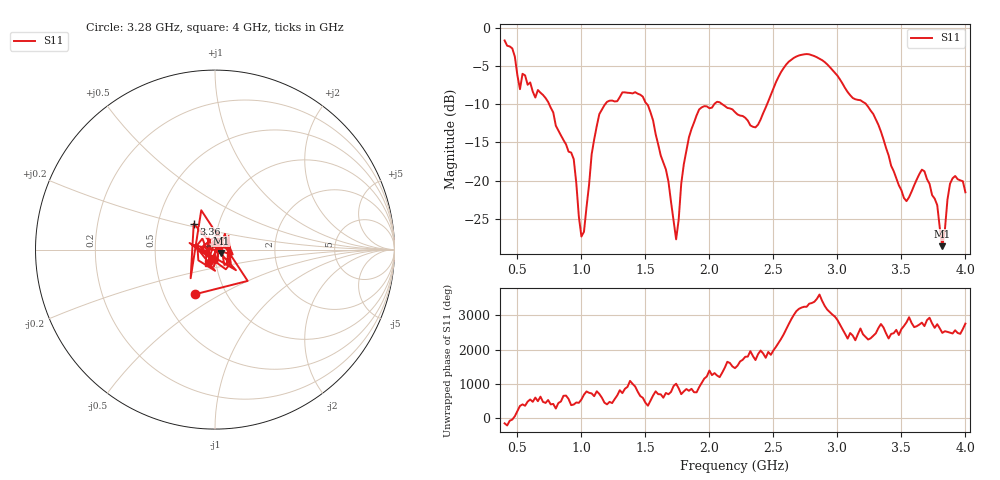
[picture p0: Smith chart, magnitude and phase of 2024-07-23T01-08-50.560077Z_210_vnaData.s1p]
!Created with skrf (http://scikit-rf.org).
# Hz S RI R 50.0
!freq ReS11 ImS11
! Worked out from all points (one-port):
!   181 points, 400 MHz to 4 GHz, reference 50 ohm
!   lowest |S11| = -28.6 dB at 3.82 GHz (marker M1), VSWR 1.08, Z = 53.3 - j2.04 ohm
!   |S11| at or under -10 dB: 748 MHz to 1.186 GHz (437.7 MHz wide, 45.3 % of centre); 1.512 GHz to 2.038 GHz (525.3 MHz wide, 29.6 % of centre); 3.224 GHz to end of sweep (the widest 3 of 4)
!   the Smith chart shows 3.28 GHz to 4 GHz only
!   S11 on the Smith chart (normalised r, x): 3.28 GHz: 0.71, -0.38; 3.36 GHz: 0.76, +0.23; 4 GHz: 0.91, -0.13
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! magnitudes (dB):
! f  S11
! 400 MHz  -1.7
! 460 MHz  -2.7
! 520 MHz  -8.0
! 700 MHz  -8.8
! 860 MHz  -14.7
! 940 MHz  -17.2
! 1 GHz  -27.3
! 1.14 GHz  -11.3
! 1.3 GHz  -9.1
! 1.52 GHz  -10.1
! 1.66 GHz  -18.5
! 1.74 GHz  -27.7
! 1.76 GHz  -25.1
! 1.8 GHz  -17.9
! 1.92 GHz  -10.7
! 2.2 GHz  -11.0
! 2.36 GHz  -13.0
! 2.66 GHz  -3.9
! 2.88 GHz  -4.2
! 3.1 GHz  -8.8
! 3.28 GHz  -11.3
! 3.36 GHz  -14.6
! 3.56 GHz  -22.2
! 3.68 GHz  -18.8
! 3.78 GHz  -23.2
! 3.82 GHz  -28.6
! 3.88 GHz  -20.4
! 4 GHz  -21.5
